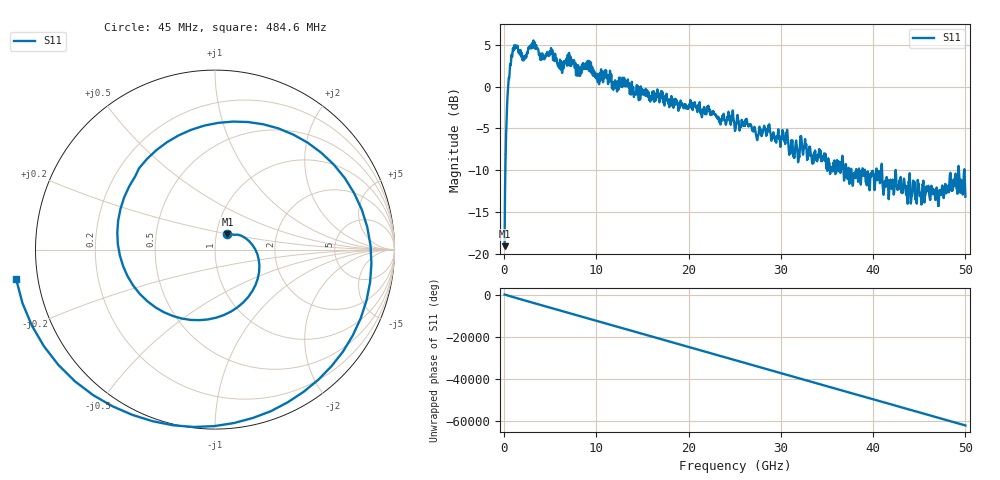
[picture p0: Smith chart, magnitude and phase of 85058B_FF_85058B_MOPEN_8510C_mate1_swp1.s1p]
!Created with skrf (http://scikit-rf.org).
# Hz S RI R 50.0
!freq ReS11 ImS11
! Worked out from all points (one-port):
!   10001 points, 45 MHz to 50 GHz, reference 50 ohm
!   lowest |S11| = -19.1 dB at 45 MHz (marker M1), VSWR 1.25, Z = 56.5 + j9.89 ohm
!   |S11| at or under -10 dB: 39.12 GHz to 40.34 GHz (1.225 GHz wide, 3.08 % of centre); 40.96 GHz to 42.44 GHz (1.472 GHz wide, 3.53 % of centre); 42.44 GHz to 49.23 GHz (6.786 GHz wide, 14.8 % of centre) (the widest 3 of 22)
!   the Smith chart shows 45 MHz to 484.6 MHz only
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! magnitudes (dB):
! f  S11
! 45 MHz  -19.1
! 319.8 MHz  -2.1
! 434.6 MHz  0.1
! 699.4 MHz  2.5
! 1.024 GHz  4.3
! 2.188 GHz  3.6
! 3.237 GHz  4.7
! 4.116 GHz  3.9
! 5.016 GHz  4.0
! 6.289 GHz  1.7
! 8.008 GHz  2.5
! 9.177 GHz  1.9
! 10.09 GHz  1.5
! 12.53 GHz  0.3
! 18.78 GHz  -2.1
! 25.02 GHz  -5.3
! 30.46 GHz  -6.8
! 31.27 GHz  -7.0
! 32.36 GHz  -8.0
! 37.51 GHz  -10.7
! 38.94 GHz  -10.7
! 39.42 GHz  -10.4
! 40.75 GHz  -11.5
! 41.24 GHz  -11.6
! 43.76 GHz  -14.0
! 46.91 GHz  -12.3
! 49.11 GHz  -12.5
! 50 GHz  -13.2
